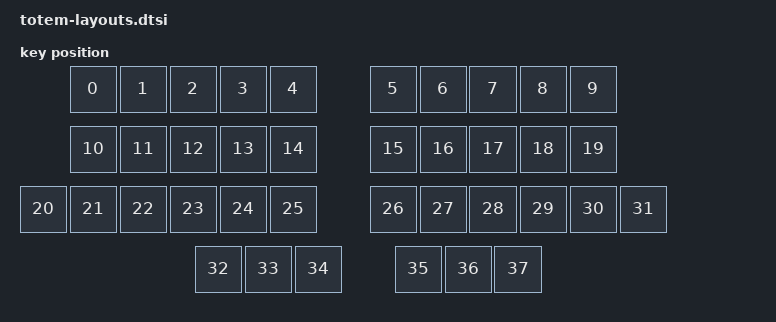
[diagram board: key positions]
#include <physical_layouts.dtsi>

/ {
    totem_layout: totem_layout {
        compatible = "zmk,physical-layout";
        display-name = "TOTEM";
        /* Map physical order -> your matrix transform order */
        transform = <&default_transform>;

        /* Each entry: <&key_physical_attrs w h x y r rx ry> */
        /* Units are arbitrary; we use 100px per 1u for clarity. */

        keys =
            /* Row 0 (10) */
              <&key_physical_attrs 100 100     0     0  0 0 0>
            , <&key_physical_attrs 100 100   100     0  0 0 0>
            , <&key_physical_attrs 100 100   200     0  0 0 0>
            , <&key_physical_attrs 100 100   300     0  0 0 0>
            , <&key_physical_attrs 100 100   400     0  0 0 0>
            , <&key_physical_attrs 100 100   600     0  0 0 0>
            , <&key_physical_attrs 100 100   700     0  0 0 0>
            , <&key_physical_attrs 100 100   800     0  0 0 0>
            , <&key_physical_attrs 100 100   900     0  0 0 0>
            , <&key_physical_attrs 100 100  1000     0  0 0 0>

            /* Row 1 (10) */
            , <&key_physical_attrs 100 100     0   120  0 0 0>
            , <&key_physical_attrs 100 100   100   120  0 0 0>
            , <&key_physical_attrs 100 100   200   120  0 0 0>
            , <&key_physical_attrs 100 100   300   120  0 0 0>
            , <&key_physical_attrs 100 100   400   120  0 0 0>
            , <&key_physical_attrs 100 100   600   120  0 0 0>
            , <&key_physical_attrs 100 100   700   120  0 0 0>
            , <&key_physical_attrs 100 100   800   120  0 0 0>
            , <&key_physical_attrs 100 100   900   120  0 0 0>
            , <&key_physical_attrs 100 100  1000   120  0 0 0>

            /* Row 2 + outer columns (12) */
            , <&key_physical_attrs 100 100  (-100)  240  0 0 0> /* outer left */
            , <&key_physical_attrs 100 100      0   240  0 0 0>
            , <&key_physical_attrs 100 100    100   240  0 0 0>
            , <&key_physical_attrs 100 100    200   240  0 0 0>
            , <&key_physical_attrs 100 100    300   240  0 0 0>
            , <&key_physical_attrs 100 100    400   240  0 0 0>
            , <&key_physical_attrs 100 100    600   240  0 0 0>
            , <&key_physical_attrs 100 100    700   240  0 0 0>
            , <&key_physical_attrs 100 100    800   240  0 0 0>
            , <&key_physical_attrs 100 100    900   240  0 0 0>
            , <&key_physical_attrs 100 100   1000   240  0 0 0>
            , <&key_physical_attrs 100 100   1100   240  0 0 0> /* outer right */

            /* Thumb row (6) */
            , <&key_physical_attrs 100 100    250   360  0 0 0>
            , <&key_physical_attrs 100 100    350   360  0 0 0>
            , <&key_physical_attrs 100 100    450   360  0 0 0>
            , <&key_physical_attrs 100 100    650   360  0 0 0>
            , <&key_physical_attrs 100 100    750   360  0 0 0>
            , <&key_physical_attrs 100 100    850   360  0 0 0>
            ;
    };
};
